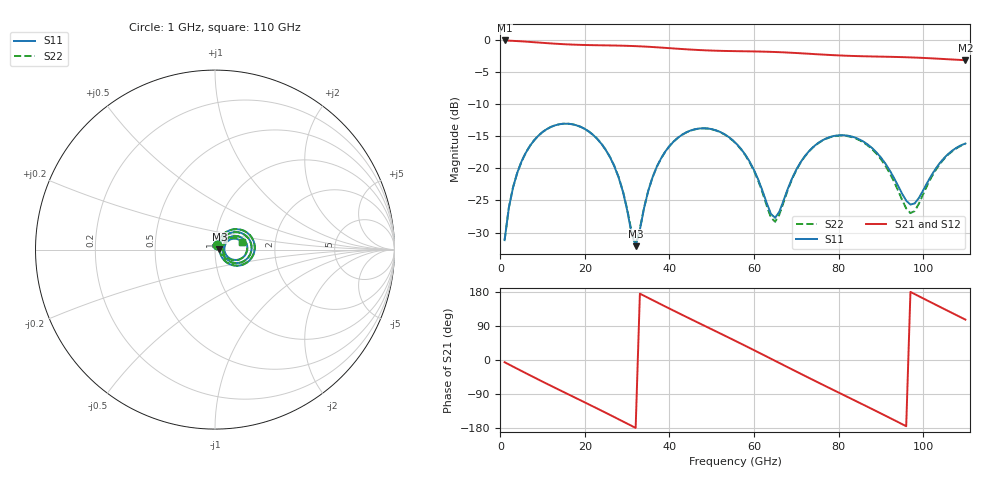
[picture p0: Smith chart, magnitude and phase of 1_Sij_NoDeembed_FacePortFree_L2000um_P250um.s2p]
! Touchstone file exported from HFSS 2024.2.0
!  File:  C:/Users/vaintrug/Documents/Ansoft_Workspace/Comparaison_Calculs_HFSS/1_VarPort.aedt
!  Generated:  03:22:19 PM Jan 21, 2025
!  Design:  1_NoDeembed_FacePortFree
!  Project:  1_VarPort
!  Setup:  Setup1
!  Solution:  Sweep
! Variables:
!  $Lenght = 2000um
!  $PortSize = 250um
!  Gap = 30um
!  Th = 2um
!  X_centralStrip = 20um
!  X_masse = 200um
!  Y_Sub = 2mm
!  Z_Box = 400um
!  Z_Sub = 200um
# GHz S MA R 50.000000
! Terminal data exported
! Port[1] = 1
! Port[2] = 2
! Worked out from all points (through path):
!   110 points, 1 GHz to 110 GHz, reference 50 ohm
!   highest |S21| = -0.13 dB at 1 GHz (marker M1); lowest = -3.2 dB at 110 GHz (marker M2)
!   group delay of S21, straight-line fit = 15.4 ps
!   lowest |S11| = -32.1 dB at 32 GHz (marker M3), VSWR 1.05, Z = 52.5 + j0.261 ohm
!   |S11| at or under -10 dB: start of sweep to end of sweep
!   |S22| runs from -31.7 to -13.1 dB; largest |S21 - S12| = 2.1e-15
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1  0.02763 61.2  0.9854 -5.9  0.9854 -5.9  0.02762 61.2
! Gamma 5.99149157105743 50.1000804321785 5.7958901130766 49.7290139669559
! Port Impedance 50 0 50 0
3  0.0711 65.7  0.9783 -17.4  0.9783 -17.4  0.07113 65.8
7  0.1494 48.7  0.96 -40.3  0.96 -40.3  0.1495 48.8
13  0.216 17.9  0.9297 -73.8  0.9297 -73.8  0.2162 18.0
20  0.2019 -17.3  0.9086 -112.1  0.9086 -112.1  0.2022 -17.0
27  0.1029 -47.1  0.9 -150.9  0.9 -150.9  0.1034 -46.5
32  0.0248 5.8  0.89 -179.2  0.89 -179.2  0.02598 4.9
35  0.06712 54.9  0.88 163.8  0.88 163.8  0.06726 53.8
38  0.1192 48.9  0.8675 146.9  0.8675 146.9  0.1191 48.3
43  0.1825 28.0  0.8452 119.1  0.8452 119.1  0.1822 27.6
47  0.2039 9.8  0.8303 97.3  0.8303 97.3  0.2034 9.3
51  0.1974 -8.2  0.8202 75.5  0.8202 75.5  0.1967 -8.7
56  0.1533 -28.7  0.8135 48.2  0.8135 48.2  0.1523 -29.5
61  0.08163 -38.8  0.8084 20.3  0.8084 20.3  0.07987 -40.4
65  0.04121 4.1  0.8014 -2.3  0.8014 -2.3  0.0384 4.9
70  0.09755 41.1  0.787 -30.5  0.787 -30.5  0.09666 42.4
74  0.1465 30.6  0.773 -52.8  0.773 -52.8  0.1457 31.1
83  0.177 -4.9  0.7474 -102.3  0.7474 -102.3  0.1752 -5.5
92  0.09759 -30.7  0.7354 -152.2  0.7354 -152.2  0.09306 -33.3
97  0.05226 -1.8  0.7277 179.6  0.7277 179.6  0.04482 -0.4
103  0.09963 33.6  0.7127 145.7  0.7127 145.7  0.09729 37.6
110  0.1558 15.0  0.692 106.6  0.692 106.6  0.1545 16.7
